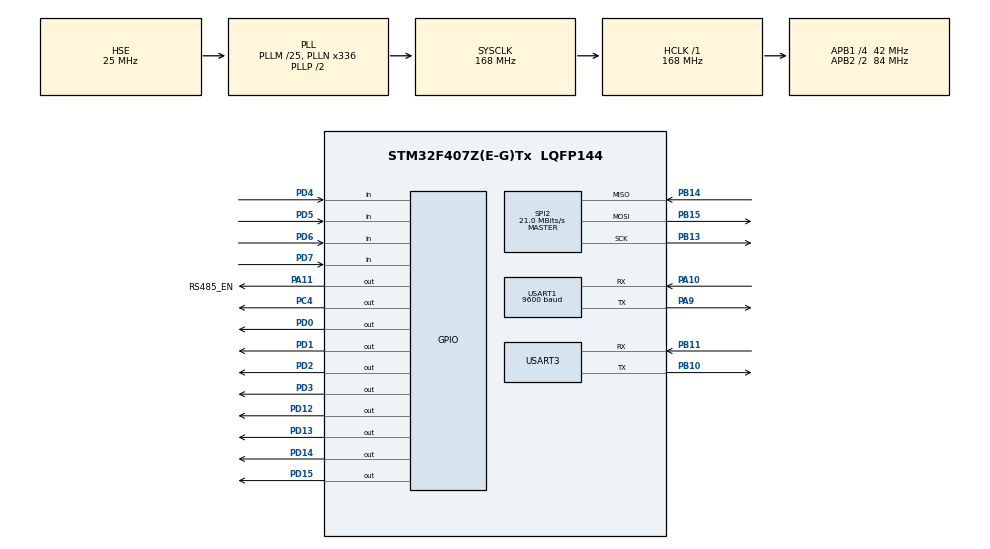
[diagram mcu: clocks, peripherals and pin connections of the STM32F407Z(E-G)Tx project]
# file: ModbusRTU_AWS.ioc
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Dma.Request0=USART1_RX
Dma.Request1=USART3_RX
Dma.Request2=USART3_TX
Dma.Request3=USART1_TX
Dma.USART1_RX.0.Direction=DMA_PERIPH_TO_MEMORY
Dma.USART1_RX.0.FIFOMode=DMA_FIFOMODE_DISABLE
Dma.USART1_RX.0.Instance=DMA2_Stream2
Dma.USART1_RX.0.MemDataAlignment=DMA_MDATAALIGN_BYTE
Dma.USART1_RX.0.MemInc=DMA_MINC_ENABLE
Dma.USART1_RX.0.Mode=DMA_CIRCULAR
Dma.USART1_RX.0.PeriphDataAlignment=DMA_PDATAALIGN_BYTE
Dma.USART1_RX.0.PeriphInc=DMA_PINC_DISABLE
Dma.USART1_RX.0.Priority=DMA_PRIORITY_HIGH
Dma.USART1_TX.3.Direction=DMA_MEMORY_TO_PERIPH
Dma.USART1_TX.3.FIFOMode=DMA_FIFOMODE_DISABLE
Dma.USART1_TX.3.Instance=DMA2_Stream7
Dma.USART1_TX.3.MemDataAlignment=DMA_MDATAALIGN_BYTE
Dma.USART1_TX.3.MemInc=DMA_MINC_ENABLE
Dma.USART1_TX.3.Mode=DMA_NORMAL
Dma.USART1_TX.3.PeriphDataAlignment=DMA_PDATAALIGN_BYTE
Dma.USART1_TX.3.PeriphInc=DMA_PINC_DISABLE
Dma.USART1_TX.3.Priority=DMA_PRIORITY_HIGH
Dma.USART3_RX.1.Direction=DMA_PERIPH_TO_MEMORY
Dma.USART3_RX.1.FIFOMode=DMA_FIFOMODE_DISABLE
Dma.USART3_RX.1.Instance=DMA1_Stream1
Dma.USART3_RX.1.MemDataAlignment=DMA_MDATAALIGN_BYTE
Dma.USART3_RX.1.MemInc=DMA_MINC_ENABLE
Dma.USART3_RX.1.Mode=DMA_CIRCULAR
Dma.USART3_RX.1.PeriphDataAlignment=DMA_PDATAALIGN_BYTE
Dma.USART3_RX.1.PeriphInc=DMA_PINC_DISABLE
Dma.USART3_RX.1.Priority=DMA_PRIORITY_MEDIUM
Dma.USART3_TX.2.Direction=DMA_MEMORY_TO_PERIPH
Dma.USART3_TX.2.FIFOMode=DMA_FIFOMODE_DISABLE
Dma.USART3_TX.2.Instance=DMA1_Stream3
Dma.USART3_TX.2.MemDataAlignment=DMA_MDATAALIGN_BYTE
Dma.USART3_TX.2.MemInc=DMA_MINC_ENABLE
Dma.USART3_TX.2.Mode=DMA_NORMAL
Dma.USART3_TX.2.PeriphDataAlignment=DMA_PDATAALIGN_BYTE
Dma.USART3_TX.2.PeriphInc=DMA_PINC_DISABLE
Dma.USART3_TX.2.Priority=DMA_PRIORITY_MEDIUM
Mcu.Family=STM32F4
Mcu.Name=STM32F407Z(E-G)Tx
Mcu.Package=LQFP144
NVIC.DMA1_Stream1_IRQn=true\:0\:0\:false\:false\:true\:false\:true\:true
NVIC.DMA1_Stream3_IRQn=true\:0\:0\:false\:false\:true\:false\:true\:true
NVIC.DMA2_Stream2_IRQn=true\:0\:0\:false\:false\:true\:false\:true\:true
NVIC.DMA2_Stream7_IRQn=true\:0\:0\:false\:false\:true\:false\:true\:true
NVIC.PriorityGroup=NVIC_PRIORITYGROUP_4
NVIC.USART1_IRQn=true\:0\:0\:false\:false\:true\:true\:true\:true
NVIC.USART3_IRQn=true\:0\:0\:false\:false\:true\:true\:true\:true
PA10.Mode=Asynchronous
PA10.Signal=USART1_RX
PA11.GPIO_Label=RS485_EN
PA11.Signal=GPIO_Output
PA9.Mode=Asynchronous
PA9.Signal=USART1_TX
PB10.Mode=Asynchronous
PB10.Signal=USART3_TX
PB11.Mode=Asynchronous
PB11.Signal=USART3_RX
PB13.Mode=Full_Duplex_Master
PB13.Signal=SPI2_SCK
PB14.Mode=Full_Duplex_Master
PB14.Signal=SPI2_MISO
PB15.Mode=Full_Duplex_Master
PB15.Signal=SPI2_MOSI
PC4.Signal=GPIO_Output
PD0.PinState=GPIO_PIN_SET
PD0.Signal=GPIO_Output
PD1.PinState=GPIO_PIN_SET
PD1.Signal=GPIO_Output
PD2.PinState=GPIO_PIN_SET
PD2.Signal=GPIO_Output
PD3.PinState=GPIO_PIN_SET
PD3.Signal=GPIO_Output
PD4.GPIO_PuPd=GPIO_PULLUP
PD4.Signal=GPIO_Input
PD5.GPIO_PuPd=GPIO_PULLUP
PD5.Signal=GPIO_Input
PD6.GPIO_PuPd=GPIO_PULLUP
PD6.Signal=GPIO_Input
PD7.GPIO_PuPd=GPIO_PULLUP
PD7.Signal=GPIO_Input
PD12.Signal=GPIO_Output
PD13.Signal=GPIO_Output
PD14.Signal=GPIO_Output
PD15.Signal=GPIO_Output
PH0-OSC_IN.Mode=HSE-External-Oscillator
PH0-OSC_IN.Signal=RCC_OSC_IN
PH1-OSC_OUT.Mode=HSE-External-Oscillator
PH1-OSC_OUT.Signal=RCC_OSC_OUT
ProjectManager.HeapSize=0x200
ProjectManager.StackSize=0x400
ProjectManager.TargetToolchain=STM32CubeIDE
RCC.48MHZClocksFreq_Value=84000000
RCC.AHBFreq_Value=168000000
RCC.APB1CLKDivider=RCC_HCLK_DIV4
RCC.APB1Freq_Value=42000000
RCC.APB1TimFreq_Value=84000000
RCC.APB2CLKDivider=RCC_HCLK_DIV2
RCC.APB2Freq_Value=84000000
RCC.APB2TimFreq_Value=168000000
RCC.CortexFreq_Value=168000000
RCC.HCLKFreq_Value=168000000
RCC.HSE_VALUE=25000000
RCC.HSI_VALUE=16000000
RCC.LSE_VALUE=32768
RCC.PLLM=25
RCC.PLLN=336
RCC.PLLSourceVirtual=RCC_PLLSOURCE_HSE
RCC.SYSCLKFreq_VALUE=168000000
RCC.SYSCLKSource=RCC_SYSCLKSOURCE_PLLCLK
RCC.VCOOutputFreq_Value=336000000
SPI2.CalculateBaudRate=21.0 MBits/s
SPI2.Direction=SPI_DIRECTION_2LINES
SPI2.Mode=SPI_MODE_MASTER
SPI2.VirtualType=VM_MASTER
USART1.BaudRate=9600
USART1.VirtualMode=VM_ASYNC
USART3.VirtualMode=VM_ASYNC
board=custom

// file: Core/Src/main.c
/* USER CODE BEGIN Header */
/**
  ******************************************************************************
  * @file           : main.c
  * @brief          : Main program body
  ******************************************************************************
  * @attention
  *
  * Copyright (c) 2025 STMicroelectronics.
  * All rights reserved.
  *
  * This software is licensed under terms that can be found in the LICENSE file
  * in the root directory of this software component.
  * If no LICENSE file comes with this software, it is provided AS-IS.
  *
  ******************************************************************************
  */
/* USER CODE END Header */
#include "main.h"

/* USER CODE BEGIN Includes */
#include <stdio.h>
#include <string.h>
#include "modbus_crc.h"
#include "modbusMaster.h"
#include "esp32msghandler.h"

/* Link v2 module - the ESP32 <-> STM32 communication handler.
 * gw_link_cfg.h / GW_LINK_ENABLE decides which protocol owns USART3. */
#include "gw_link_cfg.h"
#include "gw_image.h"
#include "gw_link.h"
#include "gw_localio.h"

/* USER CODE END Includes */

SPI_HandleTypeDef hspi2;

UART_HandleTypeDef huart1;
UART_HandleTypeDef huart3;
DMA_HandleTypeDef hdma_usart1_rx;
DMA_HandleTypeDef hdma_usart1_tx;
DMA_HandleTypeDef hdma_usart3_rx;
DMA_HandleTypeDef hdma_usart3_tx;

/* USER CODE BEGIN PV */
ModbusMaster hmodbus;
uint8_t rx_buffer[256];
// Mock register arrays
uint16_t holdingRegisters[100];
uint16_t inputRegisters[100];
uint8_t coils[100];
uint8_t discreteInputs[100];
uint8_t SlaveID = 2;

/* Result of the link-module bring-up, kept as globals so they are visible in
 * the debugger's live expressions. Both must be true for the ESP32 to get any
 * reply at all. */
volatile bool gwImageOk = false;
volatile bool gwLinkOk = false;
volatile bool gwLocalIoOk = false;

/* USER CODE END PV */

void SystemClock_Config(void);
static void MX_GPIO_Init(void);
static void MX_DMA_Init(void);
static void MX_SPI2_Init(void);
static void MX_USART1_UART_Init(void);
static void MX_USART3_UART_Init(void);

int main(void)
{

  /* MCU Configuration--------------------------------------------------------*/

  /* Reset of all peripherals, Initializes the Flash interface and the Systick. */
  HAL_Init();

  /* Configure the system clock */
  SystemClock_Config();

  /* Initialize all configured peripherals */
  MX_GPIO_Init();
  MX_DMA_Init();
  MX_SPI2_Init();
  MX_USART1_UART_Init();
  MX_USART3_UART_Init();
  /* USER CODE BEGIN 2 */
  Modbus_Init(&hmodbus, &huart1, RS485_EN_GPIO_Port, RS485_EN_Pin);

#if GW_LINK_ENABLE
  /* ---- Link v2 (0xA5 / 0x5A) ----------------------------------------------
   * USART3 belongs to the link module. The order matters: the image has to
   * exist before the link can answer out of it, and GwLink_Init refuses to
   * start otherwise rather than serving a half-built image.
   *
   * Both calls return a bool. Nothing useful can be done with a failure at this
   * point in the boot - there is no console and no cloud yet - so the result is
   * parked in a variable that the debugger's live expressions can see. The
   * .launch file already has live expressions enabled; watch gwImageOk and
   * gwLinkOk if the ESP32 reports a dead link.
   */
  gwImageOk = GwImage_Init();

#if GW_LOCALIO_ENABLE
  /* PD0..PD3 relays, PD4..PD7 pulled-up inputs.
   *
   * The pins are configured by MX_GPIO_Init() above, from the .ioc - PD0..PD3
   * as outputs idling HIGH (de-energized on an active-low relay board) and
   * PD4..PD7 as inputs with the internal pull-up. This call only starts the
   * driver that scans and drives them.
   *
   * Placed between the image and the link on purpose: after GwImage_Init so the
   * LOCAL_IO region exists to size-check and seed, and before GwLink_Init so the
   * first RD_REGION the ESP32 sends cannot read a slot that has never been
   * written. */
  gwLocalIoOk = GwLocalIO_Init();
#endif

  gwLinkOk  = GwLink_Init(&huart3);
#else
  /* ---- Link v1 (0xAA / 0xBB) ----------------------------------------------
   * The original handler. It polls USART3 one byte at a time from the main loop
   * and runs a blocking Modbus transaction inside the request, so it cannot
   * share the port with v2 - see GW_LINK_ENABLE in gw_link_cfg.h. */
  ESP32MsgHandler_Init(&huart3);
#endif

  // Initialize some test values
  holdingRegisters[1] = 1234;
  inputRegisters[1] = 5678;
  coils[0] = 1;
  discreteInputs[0] = 0;
  /*uint8_t holdingreg[2] = {0, 0};
  uint16_t holdingRegs[2] = {0, 0};
  uint16_t dataToHoldingRegs[2];
  char TXRespons[30];
  int i=0;*/

  /* USER CODE END 2 */

  /* Infinite loop */
  while (1)
  {

    /* USER CODE BEGIN 3 */
#if GW_LINK_ENABLE
    /* The superloop the rest of the gateway will be built into.
     *
     * Every step is a state machine that returns immediately, so the loop rate
     * is set by the slowest step rather than by the slowest device on a field
     * bus. Keep it that way: the moment one of these blocks, the link goes deaf
     * for the duration and the ESP32 starts timing out.
     *
     * Steps still to come, in build order (docs/UNIVERSAL_PROCESS_IMAGE.html):
     *   RtuScan_Step();     P3 - non-blocking RS-485 master filling MB_RTU
     *   Can_Step();         P7 - drain the CAN RX queue into the CAN region
     *   TcpMirror_Step();   P7 - staleness watchdog over the ESP32-fed region
     *   Virtual_Step();     P7 - computed tags, evaluated last
     *   WriteQueue_Step();  P8 - one pending field write per pass
     *   Events_Step();      P8 - transitions into the ring, drive STM_EVENT
     */
    GwLink_Step();   /* parse a request, answer it from the image */
#if GW_LOCALIO_ENABLE
    GwLocalIO_Step(); /* sample PD4..PD7, apply PD0..PD3, refresh LOCAL_IO */
#endif
    GwImage_Step();  /* uptime, staleness ageing, demo slots      */
#else
    ESP32MsgHandler_Task();  // link v1: blocking Modbus proxy
#endif

  }
  /* USER CODE END 3 */
}

void SystemClock_Config(void)
{
  RCC_OscInitTypeDef RCC_OscInitStruct = {0};
  RCC_ClkInitTypeDef RCC_ClkInitStruct = {0};

  /** Configure the main internal regulator output voltage
  */
  __HAL_RCC_PWR_CLK_ENABLE();
  __HAL_PWR_VOLTAGESCALING_CONFIG(PWR_REGULATOR_VOLTAGE_SCALE1);

  /** Initializes the RCC Oscillators according to the specified parameters
  * in the RCC_OscInitTypeDef structure.
  */
  RCC_OscInitStruct.OscillatorType = RCC_OSCILLATORTYPE_HSE;
  RCC_OscInitStruct.HSEState = RCC_HSE_ON;
  RCC_OscInitStruct.PLL.PLLState = RCC_PLL_ON;
  RCC_OscInitStruct.PLL.PLLSource = RCC_PLLSOURCE_HSE;
  RCC_OscInitStruct.PLL.PLLM = 25;
  RCC_OscInitStruct.PLL.PLLN = 336;
  RCC_OscInitStruct.PLL.PLLP = RCC_PLLP_DIV2;
  RCC_OscInitStruct.PLL.PLLQ = 4;
  if (HAL_RCC_OscConfig(&RCC_OscInitStruct) != HAL_OK)
  {
    Error_Handler();
  }

  /** Initializes the CPU, AHB and APB buses clocks
  */
  RCC_ClkInitStruct.ClockType = RCC_CLOCKTYPE_HCLK|RCC_CLOCKTYPE_SYSCLK
                              |RCC_CLOCKTYPE_PCLK1|RCC_CLOCKTYPE_PCLK2;
  RCC_ClkInitStruct.SYSCLKSource = RCC_SYSCLKSOURCE_PLLCLK;
  RCC_ClkInitStruct.AHBCLKDivider = RCC_SYSCLK_DIV1;
  RCC_ClkInitStruct.APB1CLKDivider = RCC_HCLK_DIV4;
  RCC_ClkInitStruct.APB2CLKDivider = RCC_HCLK_DIV2;

  if (HAL_RCC_ClockConfig(&RCC_ClkInitStruct, FLASH_LATENCY_5) != HAL_OK)
  {
    Error_Handler();
  }
}

static void MX_SPI2_Init(void)
{

  /* SPI2 parameter configuration*/
  hspi2.Instance = SPI2;
  hspi2.Init.Mode = SPI_MODE_MASTER;
  hspi2.Init.Direction = SPI_DIRECTION_2LINES;
  hspi2.Init.DataSize = SPI_DATASIZE_8BIT;
  hspi2.Init.CLKPolarity = SPI_POLARITY_LOW;
  hspi2.Init.CLKPhase = SPI_PHASE_1EDGE;
  hspi2.Init.NSS = SPI_NSS_SOFT;
  hspi2.Init.BaudRatePrescaler = SPI_BAUDRATEPRESCALER_2;
  hspi2.Init.FirstBit = SPI_FIRSTBIT_MSB;
  hspi2.Init.TIMode = SPI_TIMODE_DISABLE;
  hspi2.Init.CRCCalculation = SPI_CRCCALCULATION_DISABLE;
  hspi2.Init.CRCPolynomial = 10;
  if (HAL_SPI_Init(&hspi2) != HAL_OK)
  {
    Error_Handler();
  }

}

static void MX_USART1_UART_Init(void)
{

  huart1.Instance = USART1;
  huart1.Init.BaudRate = 9600;
  huart1.Init.WordLength = UART_WORDLENGTH_8B;
  huart1.Init.StopBits = UART_STOPBITS_1;
  huart1.Init.Parity = UART_PARITY_NONE;
  huart1.Init.Mode = UART_MODE_TX_RX;
  huart1.Init.HwFlowCtl = UART_HWCONTROL_NONE;
  huart1.Init.OverSampling = UART_OVERSAMPLING_16;
  if (HAL_UART_Init(&huart1) != HAL_OK)
  {
    Error_Handler();
  }

}

static void MX_USART3_UART_Init(void)
{

  huart3.Instance = USART3;
  huart3.Init.BaudRate = 115200;
  huart3.Init.WordLength = UART_WORDLENGTH_8B;
  huart3.Init.StopBits = UART_STOPBITS_1;
  huart3.Init.Parity = UART_PARITY_NONE;
  huart3.Init.Mode = UART_MODE_TX_RX;
  huart3.Init.HwFlowCtl = UART_HWCONTROL_NONE;
  huart3.Init.OverSampling = UART_OVERSAMPLING_16;
  if (HAL_UART_Init(&huart3) != HAL_OK)
  {
    Error_Handler();
  }

}

static void MX_DMA_Init(void)
{

  /* DMA controller clock enable */
  __HAL_RCC_DMA2_CLK_ENABLE();
  __HAL_RCC_DMA1_CLK_ENABLE();

  /* DMA interrupt init */
  /* DMA1_Stream1_IRQn interrupt configuration */
  HAL_NVIC_SetPriority(DMA1_Stream1_IRQn, 0, 0);
  HAL_NVIC_EnableIRQ(DMA1_Stream1_IRQn);
  /* DMA1_Stream3_IRQn interrupt configuration */
  HAL_NVIC_SetPriority(DMA1_Stream3_IRQn, 0, 0);
  HAL_NVIC_EnableIRQ(DMA1_Stream3_IRQn);
  /* DMA2_Stream2_IRQn interrupt configuration */
  HAL_NVIC_SetPriority(DMA2_Stream2_IRQn, 0, 0);
  HAL_NVIC_EnableIRQ(DMA2_Stream2_IRQn);
  /* DMA2_Stream7_IRQn interrupt configuration */
  HAL_NVIC_SetPriority(DMA2_Stream7_IRQn, 0, 0);
  HAL_NVIC_EnableIRQ(DMA2_Stream7_IRQn);

}

static void MX_GPIO_Init(void)
{
  GPIO_InitTypeDef GPIO_InitStruct = {0};

  /* GPIO Ports Clock Enable */
  __HAL_RCC_GPIOH_CLK_ENABLE();
  __HAL_RCC_GPIOC_CLK_ENABLE();
  __HAL_RCC_GPIOB_CLK_ENABLE();
  __HAL_RCC_GPIOD_CLK_ENABLE();
  __HAL_RCC_GPIOA_CLK_ENABLE();

  /*Configure GPIO pin Output Level */
  HAL_GPIO_WritePin(GPIOC, GPIO_PIN_4, GPIO_PIN_RESET);

  /*Configure GPIO pin Output Level */
  HAL_GPIO_WritePin(GPIOD, GPIO_PIN_0|GPIO_PIN_1|GPIO_PIN_2|GPIO_PIN_3, GPIO_PIN_SET);

  /*Configure GPIO pin Output Level */
  HAL_GPIO_WritePin(GPIOD, GPIO_PIN_12|GPIO_PIN_13|GPIO_PIN_14|GPIO_PIN_15, GPIO_PIN_RESET);

  /*Configure GPIO pin Output Level */
  HAL_GPIO_WritePin(RS485_EN_GPIO_Port, RS485_EN_Pin, GPIO_PIN_RESET);

  /*Configure GPIO pin : PC4 */
  GPIO_InitStruct.Pin = GPIO_PIN_4;
  GPIO_InitStruct.Mode = GPIO_MODE_OUTPUT_PP;
  GPIO_InitStruct.Pull = GPIO_NOPULL;
  GPIO_InitStruct.Speed = GPIO_SPEED_FREQ_LOW;
  HAL_GPIO_Init(GPIOC, &GPIO_InitStruct);

  /*Configure GPIO pins : PD0 PD1 PD2 PD3 */
  GPIO_InitStruct.Pin = GPIO_PIN_0|GPIO_PIN_1|GPIO_PIN_2|GPIO_PIN_3;
  GPIO_InitStruct.Mode = GPIO_MODE_OUTPUT_PP;
  GPIO_InitStruct.Pull = GPIO_NOPULL;
  GPIO_InitStruct.Speed = GPIO_SPEED_FREQ_LOW;
  HAL_GPIO_Init(GPIOD, &GPIO_InitStruct);

  /*Configure GPIO pins : PD4 PD5 PD6 PD7 */
  GPIO_InitStruct.Pin = GPIO_PIN_4|GPIO_PIN_5|GPIO_PIN_6|GPIO_PIN_7;
  GPIO_InitStruct.Mode = GPIO_MODE_INPUT;
  GPIO_InitStruct.Pull = GPIO_PULLUP;
  HAL_GPIO_Init(GPIOD, &GPIO_InitStruct);

  /*Configure GPIO pins : PD12 PD13 PD14 PD15 */
  GPIO_InitStruct.Pin = GPIO_PIN_12|GPIO_PIN_13|GPIO_PIN_14|GPIO_PIN_15;
  GPIO_InitStruct.Mode = GPIO_MODE_OUTPUT_PP;
  GPIO_InitStruct.Pull = GPIO_NOPULL;
  GPIO_InitStruct.Speed = GPIO_SPEED_FREQ_LOW;
  HAL_GPIO_Init(GPIOD, &GPIO_InitStruct);

  /*Configure GPIO pin : RS485_EN_Pin */
  GPIO_InitStruct.Pin = RS485_EN_Pin;
  GPIO_InitStruct.Mode = GPIO_MODE_OUTPUT_PP;
  GPIO_InitStruct.Pull = GPIO_NOPULL;
  GPIO_InitStruct.Speed = GPIO_SPEED_FREQ_LOW;
  HAL_GPIO_Init(RS485_EN_GPIO_Port, &GPIO_InitStruct);

}

void Error_Handler(void)
{
  __disable_irq();
  while (1)
  {
  }
}
